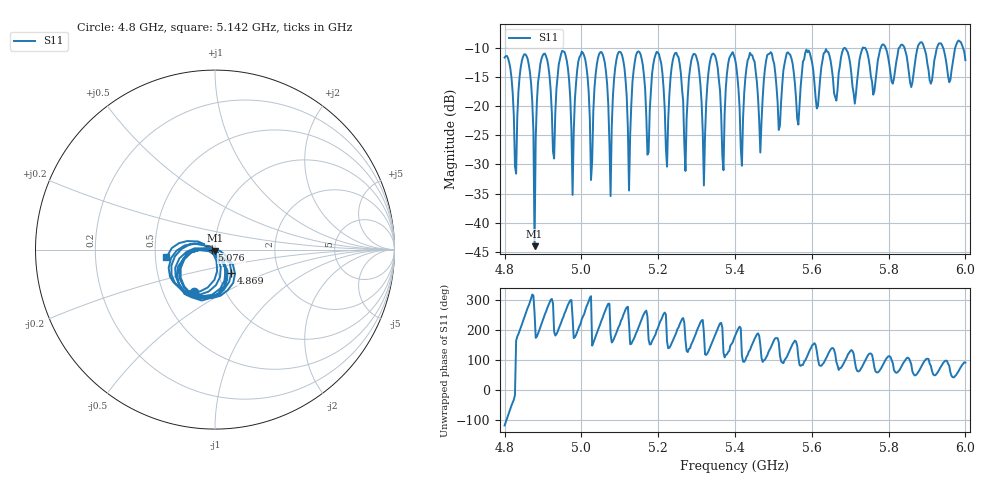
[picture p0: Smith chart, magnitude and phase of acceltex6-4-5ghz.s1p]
! NanoVNA-App
! Date: 2026-05-15 12:13:32
! Start: 4.8GHz Stop: 6GHz Points: 401
! S-Parameter data: F S11
# Hz S RI R 50
!  Frequency  S11_Real  S11_Imag
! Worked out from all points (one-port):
!   401 points, 4.8 GHz to 6 GHz, reference 50 ohm
!   lowest |S11| = -44.0 dB at 4.878 GHz (marker M1), VSWR 1.01, Z = 49.8 - j0.608 ohm
!   |S11| at or under -10 dB: start of sweep to 5.684 GHz; 5.687 GHz to 5.732 GHz (45.71 MHz wide, 0.801 % of centre); 5.739 GHz to 5.779 GHz (39.92 MHz wide, 0.693 % of centre) (the widest 3 of 8)
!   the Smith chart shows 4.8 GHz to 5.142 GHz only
!   S11 on the Smith chart (normalised r, x): 4.8 GHz: 0.71, -0.36; 4.869 GHz: 1.16, -0.30; 5.076 GHz: 0.97, -0.00; 5.142 GHz: 0.57, -0.05
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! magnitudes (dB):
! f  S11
! 4.8 GHz  -11.6
! 4.827 GHz  -30.3
! 4.869 GHz  -16.1
! 4.878 GHz  -44.0
! 4.899 GHz  -11.3
! 4.926 GHz  -27.8
! 4.95 GHz  -10.5
! 4.977 GHz  -35.2
! 5.007 GHz  -11.3
! 5.025 GHz  -32.7
! 5.055 GHz  -11.0
! 5.076 GHz  -35.4
! 5.1 GHz  -10.6
! 5.124 GHz  -34.5
! 5.142 GHz  -11.2
! 5.223 GHz  -30.4
! 5.25 GHz  -11.3
! 5.319 GHz  -33.6
! 5.34 GHz  -11.1
! 5.367 GHz  -28.5
! 5.4 GHz  -11.9
! 5.418 GHz  -30.2
! 5.439 GHz  -10.8
! 5.466 GHz  -27.9
! 5.55 GHz  -12.6
! 5.7 GHz  -12.6
! 5.85 GHz  -12.7
! 6 GHz  -12.1
